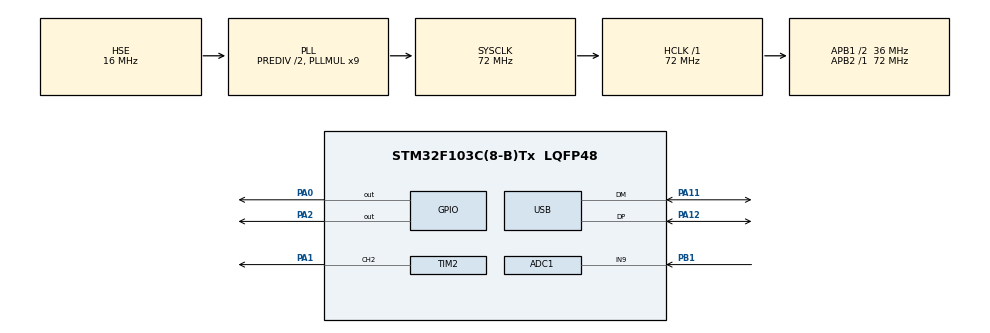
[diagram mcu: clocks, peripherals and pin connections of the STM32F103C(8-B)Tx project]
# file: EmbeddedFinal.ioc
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ADC1.Channel-0\#ChannelRegularConversion=ADC_CHANNEL_9
ADC1.ContinuousConvMode=ENABLE
ADC1.NbrOfConversionFlag=1
ADC1.Rank-0\#ChannelRegularConversion=1
ADC1.SamplingTime-0\#ChannelRegularConversion=ADC_SAMPLETIME_1CYCLE_5
ADC1.master=1
Mcu.Family=STM32F1
Mcu.Name=STM32F103C(8-B)Tx
Mcu.Package=LQFP48
NVIC.PriorityGroup=NVIC_PRIORITYGROUP_4
NVIC.USB_LP_CAN1_RX0_IRQn=true\:0\:0\:false\:false\:true\:false\:true\:true
PA0-WKUP.GPIO_PuPd=GPIO_PULLDOWN
PA0-WKUP.PinState=GPIO_PIN_RESET
PA0-WKUP.Signal=GPIO_Output
PA1.Signal=S_TIM2_CH2
PA11.Mode=Device
PA11.Signal=USB_DM
PA12.Mode=Device
PA12.Signal=USB_DP
PA13.Mode=Serial_Wire
PA13.Signal=SYS_JTMS-SWDIO
PA14.Mode=Serial_Wire
PA14.Signal=SYS_JTCK-SWCLK
PA2.GPIO_PuPd=GPIO_PULLDOWN
PA2.GPIO_Speed=GPIO_SPEED_FREQ_HIGH
PA2.Signal=GPIO_Output
PB1.Signal=ADCx_IN9
PD0-OSC_IN.Mode=HSE-External-Oscillator
PD0-OSC_IN.Signal=RCC_OSC_IN
PD1-OSC_OUT.Mode=HSE-External-Oscillator
PD1-OSC_OUT.Signal=RCC_OSC_OUT
ProjectManager.HeapSize=0x200
ProjectManager.StackSize=0x400
ProjectManager.TargetToolchain=STM32CubeIDE
RCC.ADCPresc=RCC_ADCPCLK2_DIV6
RCC.AHBFreq_Value=72000000
RCC.APB1CLKDivider=RCC_HCLK_DIV2
RCC.APB1Freq_Value=36000000
RCC.APB1TimFreq_Value=72000000
RCC.APB2Freq_Value=72000000
RCC.APB2TimFreq_Value=72000000
RCC.HCLKFreq_Value=72000000
RCC.HSEDivPLL=RCC_HSE_PREDIV_DIV2
RCC.HSE_VALUE=16000000
RCC.PLLMUL=RCC_PLL_MUL9
RCC.SYSCLKFreq_VALUE=72000000
RCC.SYSCLKSource=RCC_SYSCLKSOURCE_PLLCLK
RCC.USBFreq_Value=48000000
RCC.USBPrescaler=RCC_USBCLKSOURCE_PLL_DIV1_5
SH.ADCx_IN9.0=ADC1_IN9,IN9
SH.S_TIM2_CH2.0=TIM2_CH2,PWM Generation2 CH2
TIM2.Channel-PWM\ Generation2\ CH2=TIM_CHANNEL_2
TIM2.Period=99
TIM2.Prescaler=35
USB_DEVICE.CLASS_NAME_FS=CDC
USB_DEVICE.VirtualMode=Cdc
USB_DEVICE.VirtualModeFS=Cdc_FS
VP_USB_DEVICE_VS_USB_DEVICE_CDC_FS.Mode=CDC_FS
board=custom

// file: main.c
/* USER CODE BEGIN Header */
/**
  ******************************************************************************
  * @file           : main.c
  * @brief          : Main program body
  ******************************************************************************
  * @attention
  *
  * Copyright (c) 2024 STMicroelectronics.
  * All rights reserved.
  *
  * This software is licensed under terms that can be found in the LICENSE file
  * in the root directory of this software component.
  * If no LICENSE file comes with this software, it is provided AS-IS.
  *
  ******************************************************************************
  */
/* USER CODE END Header */
#include "main.h"
#include "usb_device.h"

/* USER CODE BEGIN Includes */
#include "stdio.h"
#include "string.h"
#include "usbd_cdc_if.h"

/* USER CODE END Includes */

ADC_HandleTypeDef hadc1;

TIM_HandleTypeDef htim2;

/* USER CODE BEGIN PV */
uint16_t tempRaw;
int16_t temp;
uint16_t voltage;
char message[30];
/* USER CODE END PV */

void SystemClock_Config(void);
static void MX_GPIO_Init(void);
static void MX_ADC1_Init(void);
static void MX_TIM2_Init(void);

int main(void)
{

  /* MCU Configuration--------------------------------------------------------*/

  /* Reset of all peripherals, Initializes the Flash interface and the Systick. */
  HAL_Init();

  /* Configure the system clock */
  SystemClock_Config();

  /* Initialize all configured peripherals */
  MX_GPIO_Init();
  MX_ADC1_Init();
  MX_USB_DEVICE_Init();
  MX_TIM2_Init();
  /* USER CODE BEGIN 2 */
  //start the ADC in continuous polling mode
  HAL_ADC_Start(&hadc1);
  /* USER CODE END 2 */

  /* Infinite loop */
  /* USER CODE BEGIN WHILE */
  while (1)
  {
	  //Poll the ADC for Analog to Digital Conversions
	  HAL_ADC_PollForConversion(&hadc1, HAL_MAX_DELAY);
	  tempRaw = HAL_ADC_GetValue(&hadc1);

	  //Print the temperature digital value to PC through USB
	  sprintf(message, "The Value of ADC1: %d , ", tempRaw);
	  CDC_Transmit_FS(message, sizeof(message));

	  //Print the values of the temperature from analog voltage
	  voltage = tempRaw * 0.4029;
	  temp = (voltage - 650) / 10;

	  //Display LED in PWM mode so that it reflects the room's temperature
	  TIM2->CCR2 = tempRaw/4095 * 100;
	  HAL_TIM_PWM_Start(&htim2, TIM_CHANNEL_2);

	  //Print the temperature digital value to PC through USB
	  sprintf(message, "The temperature: %d\r", temp);
	  CDC_Transmit_FS(message, sizeof(message));

	  HAL_Delay(100);

    /* USER CODE END WHILE */

  }
}

void SystemClock_Config(void)
{
  RCC_OscInitTypeDef RCC_OscInitStruct = {0};
  RCC_ClkInitTypeDef RCC_ClkInitStruct = {0};
  RCC_PeriphCLKInitTypeDef PeriphClkInit = {0};

  /** Initializes the RCC Oscillators according to the specified parameters
  * in the RCC_OscInitTypeDef structure.
  */
  RCC_OscInitStruct.OscillatorType = RCC_OSCILLATORTYPE_HSE;
  RCC_OscInitStruct.HSEState = RCC_HSE_ON;
  RCC_OscInitStruct.HSEPredivValue = RCC_HSE_PREDIV_DIV2;
  RCC_OscInitStruct.HSIState = RCC_HSI_ON;
  RCC_OscInitStruct.PLL.PLLState = RCC_PLL_ON;
  RCC_OscInitStruct.PLL.PLLSource = RCC_PLLSOURCE_HSE;
  RCC_OscInitStruct.PLL.PLLMUL = RCC_PLL_MUL9;
  if (HAL_RCC_OscConfig(&RCC_OscInitStruct) != HAL_OK)
  {
    Error_Handler();
  }

  /** Initializes the CPU, AHB and APB buses clocks
  */
  RCC_ClkInitStruct.ClockType = RCC_CLOCKTYPE_HCLK|RCC_CLOCKTYPE_SYSCLK
                              |RCC_CLOCKTYPE_PCLK1|RCC_CLOCKTYPE_PCLK2;
  RCC_ClkInitStruct.SYSCLKSource = RCC_SYSCLKSOURCE_PLLCLK;
  RCC_ClkInitStruct.AHBCLKDivider = RCC_SYSCLK_DIV1;
  RCC_ClkInitStruct.APB1CLKDivider = RCC_HCLK_DIV2;
  RCC_ClkInitStruct.APB2CLKDivider = RCC_HCLK_DIV1;

  if (HAL_RCC_ClockConfig(&RCC_ClkInitStruct, FLASH_LATENCY_2) != HAL_OK)
  {
    Error_Handler();
  }
  PeriphClkInit.PeriphClockSelection = RCC_PERIPHCLK_ADC|RCC_PERIPHCLK_USB;
  PeriphClkInit.AdcClockSelection = RCC_ADCPCLK2_DIV6;
  PeriphClkInit.UsbClockSelection = RCC_USBCLKSOURCE_PLL_DIV1_5;
  if (HAL_RCCEx_PeriphCLKConfig(&PeriphClkInit) != HAL_OK)
  {
    Error_Handler();
  }
}

static void MX_ADC1_Init(void)
{

  ADC_ChannelConfTypeDef sConfig = {0};

  /** Common config
  */
  hadc1.Instance = ADC1;
  hadc1.Init.ScanConvMode = ADC_SCAN_DISABLE;
  hadc1.Init.ContinuousConvMode = ENABLE;
  hadc1.Init.DiscontinuousConvMode = DISABLE;
  hadc1.Init.ExternalTrigConv = ADC_SOFTWARE_START;
  hadc1.Init.DataAlign = ADC_DATAALIGN_RIGHT;
  hadc1.Init.NbrOfConversion = 1;
  if (HAL_ADC_Init(&hadc1) != HAL_OK)
  {
    Error_Handler();
  }

  /** Configure Regular Channel
  */
  sConfig.Channel = ADC_CHANNEL_9;
  sConfig.Rank = ADC_REGULAR_RANK_1;
  sConfig.SamplingTime = ADC_SAMPLETIME_1CYCLE_5;
  if (HAL_ADC_ConfigChannel(&hadc1, &sConfig) != HAL_OK)
  {
    Error_Handler();
  }

}

static void MX_TIM2_Init(void)
{

  TIM_MasterConfigTypeDef sMasterConfig = {0};
  TIM_OC_InitTypeDef sConfigOC = {0};

  htim2.Instance = TIM2;
  htim2.Init.Prescaler = 35;
  htim2.Init.CounterMode = TIM_COUNTERMODE_UP;
  htim2.Init.Period = 99;
  htim2.Init.ClockDivision = TIM_CLOCKDIVISION_DIV1;
  htim2.Init.AutoReloadPreload = TIM_AUTORELOAD_PRELOAD_DISABLE;
  if (HAL_TIM_PWM_Init(&htim2) != HAL_OK)
  {
    Error_Handler();
  }
  sMasterConfig.MasterOutputTrigger = TIM_TRGO_RESET;
  sMasterConfig.MasterSlaveMode = TIM_MASTERSLAVEMODE_DISABLE;
  if (HAL_TIMEx_MasterConfigSynchronization(&htim2, &sMasterConfig) != HAL_OK)
  {
    Error_Handler();
  }
  sConfigOC.OCMode = TIM_OCMODE_PWM1;
  sConfigOC.Pulse = 0;
  sConfigOC.OCPolarity = TIM_OCPOLARITY_HIGH;
  sConfigOC.OCFastMode = TIM_OCFAST_DISABLE;
  if (HAL_TIM_PWM_ConfigChannel(&htim2, &sConfigOC, TIM_CHANNEL_2) != HAL_OK)
  {
    Error_Handler();
  }
  HAL_TIM_MspPostInit(&htim2);

}

static void MX_GPIO_Init(void)
{
  GPIO_InitTypeDef GPIO_InitStruct = {0};

  /* GPIO Ports Clock Enable */
  __HAL_RCC_GPIOD_CLK_ENABLE();
  __HAL_RCC_GPIOA_CLK_ENABLE();
  __HAL_RCC_GPIOB_CLK_ENABLE();

  /*Configure GPIO pin Output Level */
  HAL_GPIO_WritePin(GPIOA, GPIO_PIN_0|GPIO_PIN_2, GPIO_PIN_RESET);

  /*Configure GPIO pin : PA0 */
  GPIO_InitStruct.Pin = GPIO_PIN_0;
  GPIO_InitStruct.Mode = GPIO_MODE_OUTPUT_PP;
  GPIO_InitStruct.Pull = GPIO_PULLDOWN;
  GPIO_InitStruct.Speed = GPIO_SPEED_FREQ_LOW;
  HAL_GPIO_Init(GPIOA, &GPIO_InitStruct);

  /*Configure GPIO pin : PA2 */
  GPIO_InitStruct.Pin = GPIO_PIN_2;
  GPIO_InitStruct.Mode = GPIO_MODE_OUTPUT_PP;
  GPIO_InitStruct.Pull = GPIO_PULLDOWN;
  GPIO_InitStruct.Speed = GPIO_SPEED_FREQ_HIGH;
  HAL_GPIO_Init(GPIOA, &GPIO_InitStruct);

}

void Error_Handler(void)
{
  __disable_irq();
  while (1)
  {
  }
}
